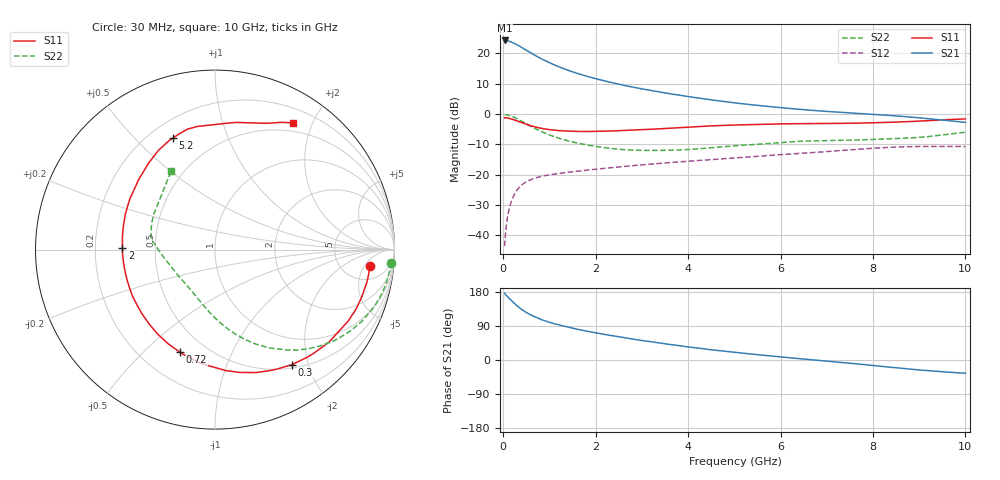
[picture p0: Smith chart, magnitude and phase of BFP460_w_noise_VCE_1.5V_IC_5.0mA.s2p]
! (c) 2016  Infineon Technologies AG, Munich
! Infineon Technologies  Discrete & RF Semiconductors
! BFP460
! VCE =  1.5 V,  IC =  5.0 mA
! Common Emitter S-Parameters:  Jan 2016
# GHz  S  MA  R  50
!  f  S11  S21  S12  S22
! GHz  MAG  ANG  MAG  ANG  MAG  ANG  MAG  ANG
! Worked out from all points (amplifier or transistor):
!   229 points, 30 MHz to 10 GHz, reference 50 ohm
!   highest |S21| = 24.3 dB at 30 MHz (marker M1)
!   |S21| within 3 dB of that: start of sweep to 475.4 MHz
!   unconditionally stable (mu >= 1): 3.056 GHz to 8.855 GHz
!   at 280 MHz: K = 0.16, MSG = 24.3 dB, |S12| = -25.5 dB
!   at 1.78 GHz: K = 0.77, MSG = 15.6 dB, |S12| = -18.6 dB
!   at 10 GHz: K = 0.98, MSG = 4.0 dB, |S12| = -10.7 dB
!   lowest NFmin = 0.78 dB at 450 MHz
!   S11 on the Smith chart (normalised r, x): 30 MHz: 9, -7; 300 MHz: 0.55, -1.74; 720 MHz: 0.36, -0.65; 2 GHz: 0.32, +0.01; 5.2 GHz: 0.29, +0.65; 10 GHz: 0.38, +1.73
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0.03  0.8664 -6.0  16.33 176.3  0.0066 86.6  0.9836 -4.2
0.05  0.8665 -10.1  16.22 172.6  0.0108 83.8  0.9805 -6.8
0.07  0.8616 -14.3  16.29 170.0  0.0151 82.2  0.9754 -9.6
0.15  0.8362 -29.9  15.62 159.8  0.0314 74.0  0.9407 -20.1
0.2  0.8179 -39.1  15.13 153.7  0.0404 69.2  0.9096 -26.2
0.3  0.7709 -56.3  13.86 142.8  0.0558 60.9  0.8361 -37.3
0.4  0.722 -71.6  12.53 133.3  0.0675 54.1  0.7589 -46.7
0.5  0.6768 -84.9  11.27 125.4  0.0764 48.9  0.6875 -54.5
0.6  0.6398 -96.8  10.15 118.6  0.0831 44.8  0.6245 -61.2
0.72  0.6039 -108.9  9.001 111.9  0.0892 41.1  0.5603 -67.9
0.9  0.5683 -124.5  7.633 103.4  0.0961 37.2  0.4845 -76.4
1.1  0.5419 -138.6  6.489 95.8  0.102 34.5  0.4235 -83.9
1.4  0.5224 -155.6  5.273 86.6  0.1093 32.2  0.3608 -93.2
1.7  0.5152 -169.4  4.436 78.7  0.1159 31.0  0.3199 -101.1
2  0.5159 178.8  3.825 71.7  0.1225 30.1  0.2919 -108.4
2.6  0.5358 159.4  2.985 59.1  0.136 28.7  0.2586 -123.5
3.4  0.5706 139.6  2.293 44.6  0.1536 26.6  0.2508 -142.8
5.1  0.661 111.9  1.497 19.1  0.1899 21.7  0.3017 -175.7
5.2  0.664 110.7  1.468 17.9  0.1925 21.4  0.3051 -176.8
6.8  0.6928 95.4  1.131 -0.6  0.234 14.8  0.3619 169.5
8.4  0.7309 75.1  0.942 -19.3  0.2827 3.9  0.3904 152.0
10  0.8293 58.3  0.727 -35.0  0.2908 -7.7  0.5015 119.0
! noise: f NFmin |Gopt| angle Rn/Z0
0.45  0.78  0.33  16  0.17
0.9  0.8  0.34  31  0.17
1.9  1.06  0.17  97  0.13
3.5  1.24  0.33  -153  0.1
